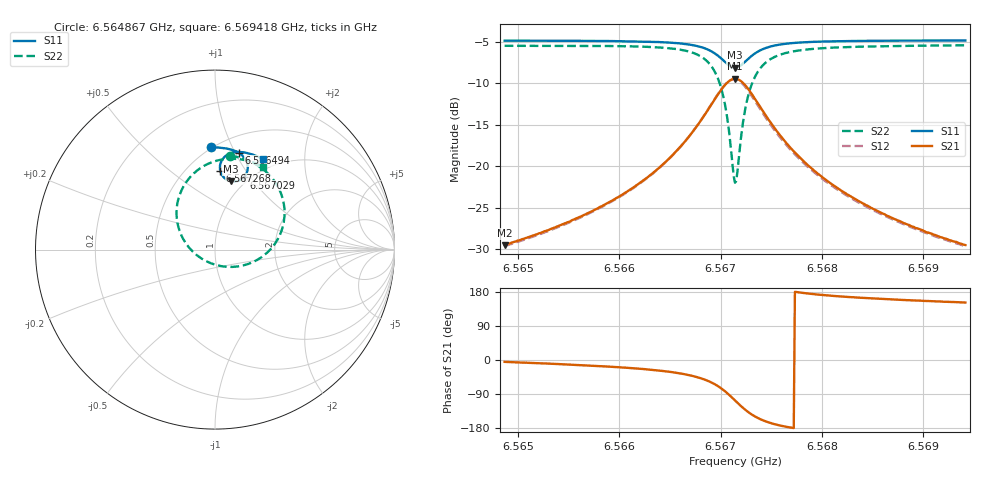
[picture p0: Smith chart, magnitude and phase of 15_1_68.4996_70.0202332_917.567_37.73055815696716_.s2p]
#  HZ  S  RI  R  50.00
! Rohde & Schwarz Vector Network Analyzer
! Rohde-Schwarz,ZNB20-2Port,1311601062101988,3.16
! Created: UTC 3/20/2024, 4:49:10 PM
! freq[Hz]  re:S11  im:S11  re:S21  im:S21  re:S12  im:S12  re:S22  im:S22
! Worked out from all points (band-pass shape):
!   401 points, 6.564867 GHz to 6.569418 GHz, reference 50 ohm
!   highest |S21| = -9.48 dB at 6.567143 GHz (marker M1); lowest = -29.5 dB at 6.564867 GHz (marker M2)
!   |S21| within 3 dB of the highest: 6.566915 GHz to 6.56737 GHz (455.8 kHz wide, 0.00694 % of centre)
!   lowest |S11| = -8.2 dB at 6.567143 GHz (marker M3), VSWR 2.28, Z = 43.3 + j38.9 ohm
!   |S11| at or under -10 dB: nowhere
!   |S22| runs from -22.0 to -5.5 dB; largest |S21 - S12| = 0.018
!   S11 on the Smith chart (normalised r, x): 6.564867 GHz: 0.49, +0.83; 6.566494 GHz: 0.67, +1.04; 6.567029 GHz: 0.94, +0.93; 6.567268 GHz: 0.71, +0.77; 6.569418 GHz: 0.85, +1.28
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6.5648671e9  -0.0217 0.5691  0.0334 -0.00286  0.0328 -0.00342  0.0842 0.5235
6.5656294e9  0.0434 0.5663  0.0487 -0.0118  0.048 -0.0124  0.1644 0.5036
6.5660617e9  0.0847 0.5585  0.0651 -0.0241  0.0642 -0.0249  0.2242 0.477
6.5663917e9  0.1213 0.5452  0.0863 -0.0456  0.0853 -0.0467  0.2857 0.4326
6.5664941e9  0.1342 0.538  0.0954 -0.0576  0.0943 -0.059  0.3096 0.4087
6.5666989e9  0.162 0.5138  0.1168 -0.0998  0.1151 -0.102  0.3624 0.326
6.5668581e9  0.1807 0.4753  0.1256 -0.1685  0.1222 -0.1725  0.3874 0.1936
6.5669605e9  0.1788 0.4337  0.1038 -0.2412  0.0964 -0.2464  0.3479 0.0551
6.5670288e9  0.1598 0.4021  0.0558 -0.2953  0.0437 -0.2992  0.2561 -0.0442
6.5670857e9  0.1281 0.3827  -0.0128 -0.3254  -0.0285 -0.3248  0.1275 -0.0939
6.5671198e9  0.1038 0.3791  -0.0627 -0.328  -0.079 -0.3233  0.0365 -0.0925
6.5671426e9  0.0872 0.3811  -0.0962 -0.3216  -0.1121 -0.3138  -0.0231 -0.076
6.5671653e9  0.0712 0.3866  -0.128 -0.3085  -0.1424 -0.2981  -0.0778 -0.048
6.5672222e9  0.041 0.4126  -0.1884 -0.2548  -0.1972 -0.2401  -0.1758 0.0566
6.5672677e9  0.0294 0.4388  -0.2131 -0.2033  -0.2167 -0.1882  -0.2098 0.1508
6.5673587e9  0.0322 0.4844  -0.2148 -0.1155  -0.2127 -0.104  -0.1971 0.3042
6.5674953e9  0.0596 0.5221  -0.1774 -0.0428  -0.1733 -0.0365  -0.1169 0.4258
6.5676546e9  0.0918 0.5388  -0.1364 -0.0082  -0.1328 -0.0049  -0.0326 0.4806
6.5679048e9  0.1308 0.5442  -0.0959 0.00974  -0.0934 0.0113  0.0563 0.5046
6.5682689e9  0.1728 0.5394  -0.0647 0.0159  -0.0632 0.0166  0.1348 0.5038
6.5686671e9  0.2098 0.529  -0.0467 0.0168  -0.0456 0.0173  0.1917 0.4923
6.569418e9  0.2689 0.5038  -0.0295 0.016  -0.0288 0.0161  0.2674 0.4622
